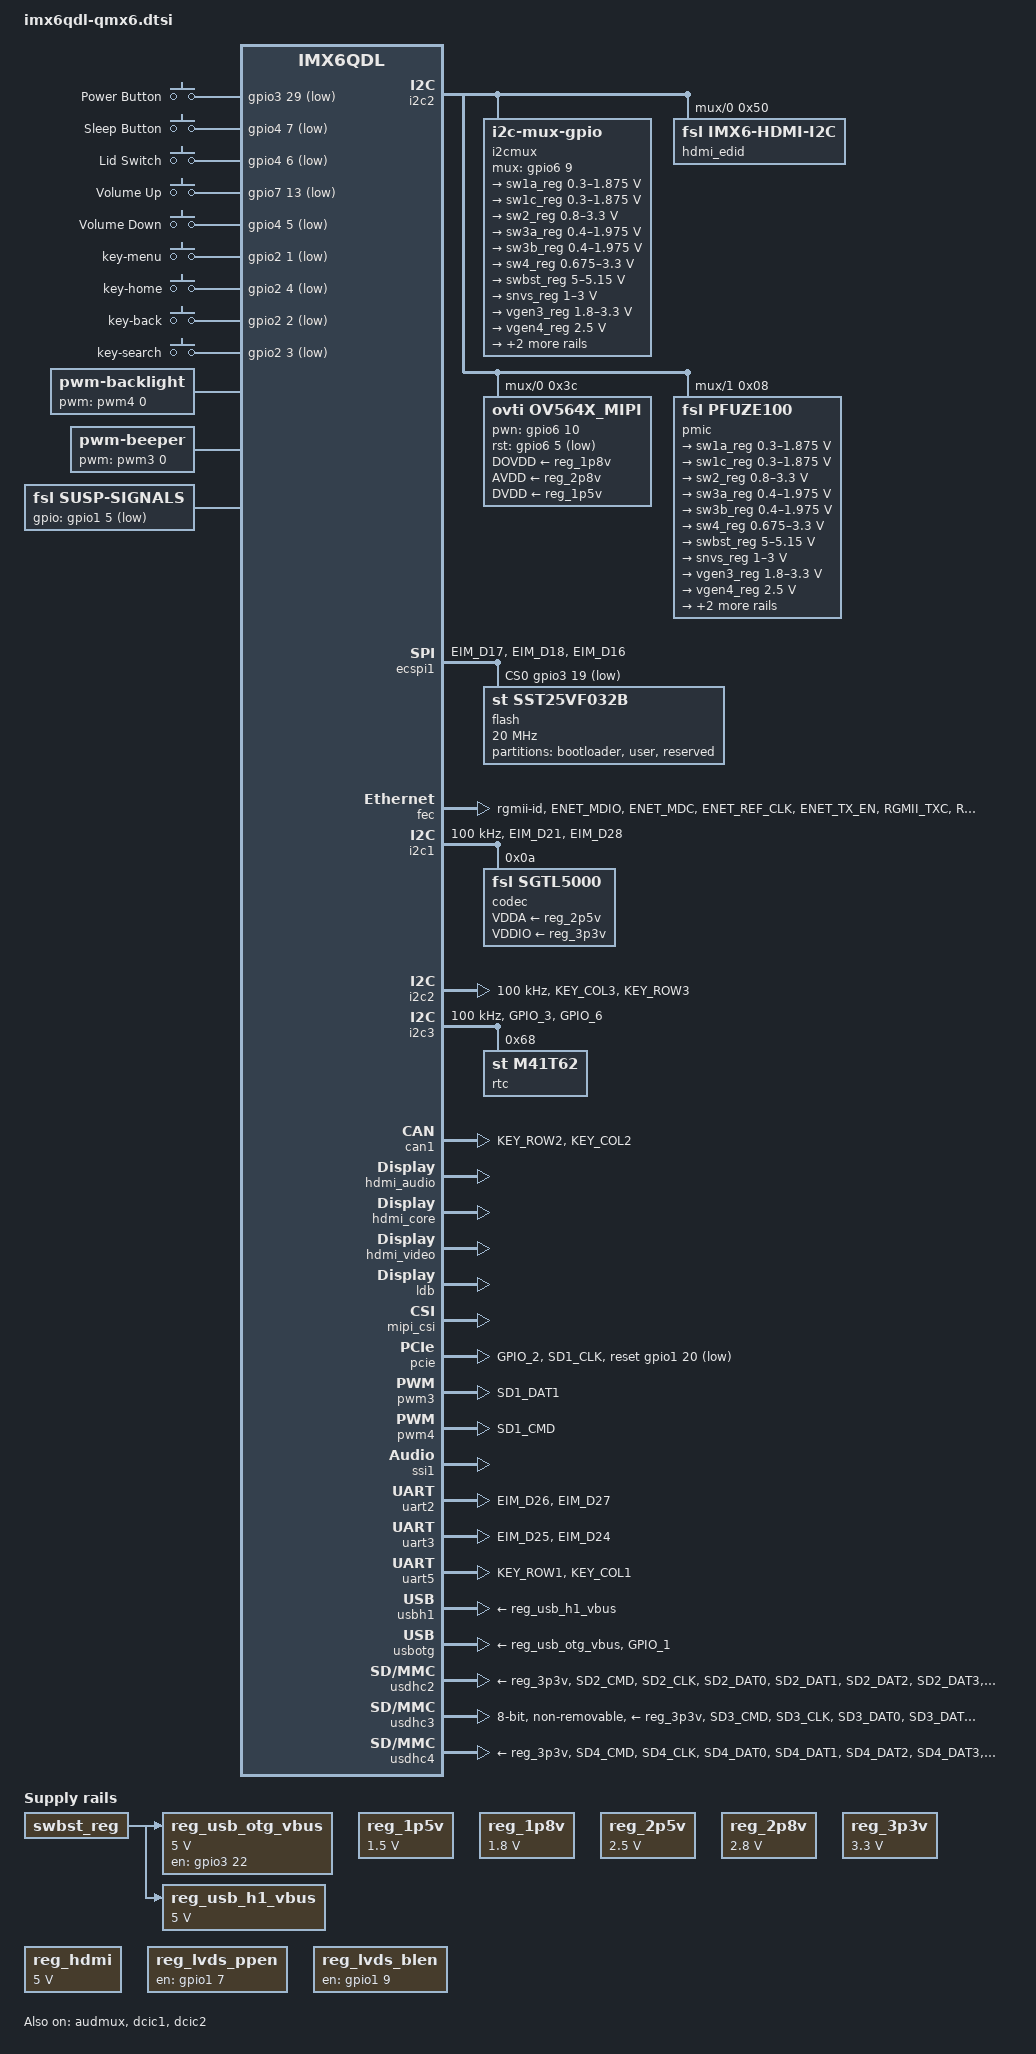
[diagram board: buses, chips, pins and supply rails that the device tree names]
/*
 * Copyright 2016 congatec AG
 * Copyright 2012 Freescale Semiconductor, Inc.
 * Copyright 2011 Linaro Ltd.
 *
 * The code contained herein is licensed under the GNU General Public
 * License. You may obtain a copy of the GNU General Public License
 * Version 2 or later at the following locations:
 *
 * http://www.opensource.org/licenses/gpl-license.html
 * http://www.gnu.org/copyleft/gpl.html
 */

#include <dt-bindings/gpio/gpio.h>
#include <dt-bindings/input/gpio-keys.h>
#include <dt-bindings/input/input.h>

/ {
	aliases {
		mxcfb0 = &mxcfb1;
		mxcfb1 = &mxcfb2;
		mxcfb2 = &mxcfb3;
		mxcfb3 = &mxcfb4;

		mmc0 = &usdhc2;
		mmc1 = &usdhc3;
		mmc2 = &usdhc4;
	};


	regulators {
		compatible = "simple-bus";
		#address-cells = <1>;
		#size-cells = <0>;

		reg_1p5v: 1p5v {
			compatible = "regulator-fixed";
			regulator-name = "1P5V";
			regulator-min-microvolt = <1500000>;
			regulator-max-microvolt = <1500000>;
			regulator-always-on;
		};

		reg_1p8v: 1p8v {
			compatible = "regulator-fixed";
			regulator-name = "1P8V";
			regulator-min-microvolt = <1800000>;
			regulator-max-microvolt = <1800000>;
			regulator-always-on;
		};

		reg_2p5v: 2p5v {
			compatible = "regulator-fixed";
			regulator-name = "2P5V";
			regulator-min-microvolt = <2500000>;
			regulator-max-microvolt = <2500000>;
			regulator-always-on;
		};

		reg_2p8v: 2p8v {
			compatible = "regulator-fixed";
			regulator-name = "2P8V";
			regulator-min-microvolt = <2800000>;
			regulator-max-microvolt = <2800000>;
			regulator-always-on;
		};

		reg_3p3v: 3p3v {
			compatible = "regulator-fixed";
			regulator-name = "3P3V";
			regulator-min-microvolt = <3300000>;
			regulator-max-microvolt = <3300000>;
			regulator-always-on;
		};

		reg_usb_otg_vbus: regulator-usb-otg-vbus {
			compatible = "regulator-fixed";
			regulator-name = "usb_otg_vbus";
			regulator-min-microvolt = <5000000>;
			regulator-max-microvolt = <5000000>;
			gpio = <&gpio3 22 GPIO_ACTIVE_HIGH>;
			enable-active-high;
			regulator-always-on;
			vin-supply = <&swbst_reg>;
		};

		reg_usb_h1_vbus: regulator-usb-h1-vbus {
			compatible = "regulator-fixed";
			regulator-name = "usb_h1_vbus";
			regulator-min-microvolt = <5000000>;
			regulator-max-microvolt = <5000000>;
			regulator-always-on;
			vin-supply = <&swbst_reg>;
		};

		reg_hdmi: regulator-hdmi {
			compatible = "regulator-fixed";
			regulator-name = "hdmi-5v-supply";
			regulator-min-microvolt = <5000000>;
			regulator-max-microvolt = <5000000>;
			enable-active-high;
			hdmi-5v-supply = <&swbst_reg>;
		};

		/* LVDS backlight power enable as regulator */
		reg_lvds_ppen: lvds_ppen_pwr_on {
			compatible = "regulator-fixed";
			regulator-name = "lvds_ppen_pwr_on";
			gpio = <&gpio1 7 GPIO_ACTIVE_HIGH>; /* Q7-111: LVDS_PPEN */
			enable-active-high;
			regulator-always-on;
		};

		/* LVDS backlight enable as regulator */
		reg_lvds_blen: lvds_blen_pwr_on {
			compatible = "regulator-fixed";
			regulator-name = "lvds_blen_pwr_on";
			gpio = <&gpio1 9 GPIO_ACTIVE_HIGH>; /* Q7-112: LVDS_BLEN */
			enable-active-high;
			regulator-always-on;
		};
	};

	i2cmux {
			compatible = "i2c-mux-gpio";
			#address-cells = <1>;
			#size-cells = <0>;
			mux-gpios = <&gpio6 9 GPIO_ACTIVE_HIGH>;
			i2c-parent = <&i2c2>;

			i2c@0 {
				reg = <0>;
				#address-cells = <1>;
				#size-cells = <0>;

				hdmi_edid: edid@50 {
					compatible = "fsl,imx6-hdmi-i2c";
					reg = <0x50>;
				};

/* mma8451 is not populated on QMX6 */
#if 0
				mma8451@1c {
					compatible = "fsl,mma8451";
					reg = <0x1c>;
					position = <1>;
					vdd-supply = <&reg_3p3v>;
					vddio-supply = <&reg_3p3v>;
					pinctrl-names = "default";
					pinctrl-0 = <&pinctrl_i2c2_mma8451_int>;
					interrupt-parent = <&gpio6>;
					interrupts = <14 IRQ_TYPE_LEVEL_LOW>, <16 IRQ_TYPE_LEVEL_LOW>;
				};
#endif

				ov564x_mipi: ov564x_mipi@3c {
					compatible = "ovti,ov564x_mipi";
					reg = <0x3c>;
					clocks = <&clks 201>;
					clock-names = "csi_mclk";
					DOVDD-supply = <&reg_1p8v>;
					AVDD-supply = <&reg_2p8v>;
					DVDD-supply = <&reg_1p5v>;
					pwn-gpios = <&gpio6 10 GPIO_ACTIVE_HIGH>;
					rst-gpios = <&gpio6 5 GPIO_ACTIVE_LOW>;
					csi_id = <1>;
					mclk = <24000000>;
					mclk_source = <0>;
				};
			};

			i2c@1 {
				reg = <1>;
				#address-cells = <1>;
				#size-cells = <0>;

				pmic: pfuze100@8 {
					compatible = "fsl,pfuze100";
					reg = <0x08>;

					regulators {
						sw1a_reg: sw1ab {
							regulator-min-microvolt = <300000>;
							regulator-max-microvolt = <1875000>;
							regulator-boot-on;
							regulator-always-on;
							regulator-ramp-delay = <6250>;
						};

						sw1c_reg: sw1c {
							regulator-min-microvolt = <300000>;
							regulator-max-microvolt = <1875000>;
							regulator-boot-on;
							regulator-always-on;
							regulator-ramp-delay = <6250>;
						};

						sw2_reg: sw2 {
							regulator-min-microvolt = <800000>;
							regulator-max-microvolt = <3300000>;
							regulator-boot-on;
							regulator-always-on;
						};

						sw3a_reg: sw3a {
							regulator-min-microvolt = <400000>;
							regulator-max-microvolt = <1975000>;
							regulator-boot-on;
							regulator-always-on;
						};

						sw3b_reg: sw3b {
							regulator-min-microvolt = <400000>;
							regulator-max-microvolt = <1975000>;
							regulator-boot-on;
							regulator-always-on;
						};

						sw4_reg: sw4 {
							regulator-min-microvolt = <675000>;
							regulator-max-microvolt = <3300000>;
							regulator-boot-on;
							regulator-always-on;
						};

						swbst_reg: swbst {
							regulator-min-microvolt = <5000000>;
							regulator-max-microvolt = <5150000>;
						};

						snvs_reg: vsnvs {
							regulator-min-microvolt = <1000000>;
							regulator-max-microvolt = <3000000>;
							regulator-boot-on;
							regulator-always-on;
						};

						vref_reg: vrefddr {
							regulator-boot-on;
							regulator-always-on;
						};

						/* keep VGEN3, VGEN4 and VGEN5 enabled in order to maintain backward compatibility with hw-rev. A.0 */
						vgen3_reg: vgen3 {
							regulator-min-microvolt = <1800000>;
							regulator-max-microvolt = <3300000>;
							regulator-always-on;
						};

						vgen4_reg: vgen4 {
							regulator-min-microvolt = <2500000>;
							regulator-max-microvolt = <2500000>;
							regulator-always-on;
						};


						vgen5_reg: vgen5 {
							regulator-min-microvolt = <1800000>;
							regulator-max-microvolt = <3300000>;
							regulator-always-on;
						};

						/* supply voltage for eMMC */
						vgen6_reg: vgen6 {
							regulator-min-microvolt = <1800000>;
							regulator-max-microvolt = <1800000>;
							regulator-boot-on;
							regulator-always-on;
						};
					};
				};
			};
	};

	gpio-keys {
		compatible = "gpio-keys";
		pinctrl-names = "default";
		pinctrl-0 = <&pinctrl_gpio_keys>;

		power {
			label = "Power Button";
			gpios = <&gpio3 29 GPIO_ACTIVE_LOW>;
			wakeup-source;
			linux,code = <KEY_POWER>;
		};

		sleep {
			label = "Sleep Button";
			gpios = <&gpio4 7 GPIO_ACTIVE_LOW>;
			wakeup-source;
			linux,code = <KEY_SLEEP>;
		};

		lid {
			label = "Lid Switch";
			gpios = <&gpio4 6 GPIO_ACTIVE_LOW>;
			wakeup-source;
			linux,code = <SW_LID>;
			linux,input-type = <EV_SW>;
		};

		volume-up {
			label = "Volume Up";
			gpios = <&gpio7 13 GPIO_ACTIVE_LOW>;
			linux,code = <KEY_VOLUMEUP>;
		};

		volume-down {
			label = "Volume Down";
			gpios = <&gpio4 5 GPIO_ACTIVE_LOW>;
			linux,code = <KEY_VOLUMEDOWN>;
		};

		key-menu {
			label = "key-menu";
			gpios = <&gpio2 1 GPIO_ACTIVE_LOW>;
			linux,code = <KEY_MENU>;
		};

		key-home {
			label = "key-home";
			gpios = <&gpio2 4 GPIO_ACTIVE_LOW>;
			linux,code = <KEY_HOME>;
		};

		key-back {
			label = "key-back";
			gpios = <&gpio2 2 GPIO_ACTIVE_LOW>;
			linux,code = <KEY_BACK>;
		};

		key-search {
			label = "key-search";
			gpios = <&gpio2 3 GPIO_ACTIVE_LOW>;
			linux,code = <KEY_SEARCH>;
		};
	};

	sound {
		compatible = "fsl,imx6q-qmx6-sgtl5000",
			     "fsl,imx-audio-sgtl5000";
		model = "imx6q-qmx6-sgtl5000";
		ssi-controller = <&ssi1>;
		audio-codec = <&codec>;
		asrc-controller = <&asrc>;
		audio-routing =
			"MIC_IN", "Mic Jack",
			"Mic Jack", "Mic Bias",
			"Headphone Jack", "HP_OUT";
		mux-int-port = <1>;
		mux-ext-port = <6>;
	};

	sound-hdmi {
		compatible = "fsl,imx6q-audio-hdmi",
			     "fsl,imx-audio-hdmi";
		model = "imx-audio-hdmi";
		hdmi-controller = <&hdmi_audio>;
	};

	mxcfb1: fb@0 {
		compatible = "fsl,mxc_sdc_fb";
		disp_dev = "ldb";
		interface_pix_fmt = "RGB666";
		default_bpp = <16>;
		int_clk = <0>;
		late_init = <0>;
		status = "disabled";
	};

	mxcfb2: fb@1 {
		compatible = "fsl,mxc_sdc_fb";
		disp_dev = "hdmi";
		interface_pix_fmt = "RGB24";
		mode_str ="1920x1080M@60";
		default_bpp = <24>;
		int_clk = <0>;
		late_init = <0>;
		status = "disabled";
	};

	mxcfb3: fb@2 {
		compatible = "fsl,mxc_sdc_fb";
		disp_dev = "ldb";
		interface_pix_fmt = "RGB666";
		default_bpp = <16>;
		int_clk = <0>;
		late_init = <0>;
		status = "disabled";
	};

	mxcfb4: fb@3 {
		compatible = "fsl,mxc_sdc_fb";
		disp_dev = "ldb";
		interface_pix_fmt = "RGB666";
		default_bpp = <16>;
		int_clk = <0>;
		late_init = <0>;
		status = "disabled";
	};

	backlight {
		compatible = "pwm-backlight";
		pwms = <&pwm4 0 5000000>;
		brightness-levels = <0 4 8 16 32 64 128 255>;
		default-brightness-level = <7>;
		status = "okay";
	};

	beeper {
		compatible = "pwm-beeper";
		pwms = <&pwm3 0 5000000>;
	};

	v4l2_cap_1 {
		compatible = "fsl,imx6q-v4l2-capture";
		ipu_id = <0>;
		csi_id = <1>;
		mclk_source = <0>;
		status = "okay";
	};

	v4l2_out {
		compatible = "fsl,mxc_v4l2_output";
		status = "okay";
	};

	susp-signals {
		compatible = "fsl,susp-signals";
		gpios = <&gpio1 5 GPIO_ACTIVE_LOW>;
	};
};

&audmux {
	pinctrl-names = "default";
	pinctrl-0 = <&pinctrl_audmux>;
	status = "okay";
};

&clks {
	assigned-clocks = <&clks IMX6QDL_CLK_LDB_DI0_SEL>,
			  <&clks IMX6QDL_CLK_LDB_DI1_SEL>;
	assigned-clock-parents = <&clks IMX6QDL_CLK_PLL2_PFD0_352M>,
				 <&clks IMX6QDL_CLK_PLL2_PFD0_352M>;
};


&ecspi1 {
	fsl,spi-num-chipselects = <1>;
	cs-gpios = <&gpio3 19 GPIO_ACTIVE_LOW>;
	pinctrl-names = "default";
	pinctrl-0 = <&pinctrl_ecspi1>;
	dmas = <&sdma 3 7 1>, <&sdma 4 7 2>;
	dma-names = "rx", "tx";
	status = "okay";

	flash: m25p80@0 {
		#address-cells = <1>;
		#size-cells = <1>;
		compatible = "st,sst25vf032b";
		spi-max-frequency = <20000000>;
		reg = <0>;

		partition@0 {
			label = "bootloader";
			reg = <0x0000000 0x100000>;
		};

		partition@100000 {
			label = "user";
			reg = <0x0100000 0x2fc000>;
		};

		partition@3fc000 {
			label = "reserved";
			reg = <0x03fc000 0x4000>;
			read-only;
		};
	};
};

&fec {
	pinctrl-names = "default";
	pinctrl-0 = <&pinctrl_enet>;
	phy-mode = "rgmii-id";
	phy-reset-gpios = <&gpio3 23 GPIO_ACTIVE_LOW>;
	fsl,magic-packet;
	status = "okay";
};

&i2c1 {
	clock-frequency = <100000>;
	pinctrl-names = "default";
	pinctrl-0 = <&pinctrl_i2c1>;
	status = "okay";

	codec: sgtl5000@a {
		compatible = "fsl,sgtl5000";
		reg = <0x0a>;
		clocks = <&clks 201>;
		VDDA-supply = <&reg_2p5v>;
		VDDIO-supply = <&reg_3p3v>;
	};
};

&i2c2 {
	clock-frequency = <100000>;
	pinctrl-names = "default";
	pinctrl-0 = <&pinctrl_i2c2>;
	status = "okay";

};

&i2c3 {
    clock-frequency = <100000>;
    pinctrl-names = "default";
    pinctrl-0 = <&pinctrl_i2c3>;
    status = "okay";

	rtc: m41t62@68 {
		compatible = "st,m41t62";
        reg = <0x68>;
    };
};

&iomuxc {
	pinctrl-names = "default";
	pinctrl-0 = <&pinctrl_hog>;

	imx6qdl-qmx6 {
		pinctrl_hog: hoggrp {
			fsl,pins = <
				MX6QDL_PAD_NANDF_WP_B__GPIO6_IO09	0x80000000	/* I2C multiplexer */
				MX6QDL_PAD_GPIO_4__GPIO1_IO04		0x80000000	/* SD2_CD */
				MX6QDL_PAD_NANDF_D6__GPIO2_IO06		0x80000000	/* SD4_CD# */
				MX6QDL_PAD_NANDF_D7__GPIO2_IO07		0x80000000	/* SD4_WP */
				MX6QDL_PAD_EIM_D23__GPIO3_IO23		0x80000000	/* RGMII Phy Reset */
				MX6QDL_PAD_CSI0_MCLK__CCM_CLKO1		0x80000000	/* Camera MCLK */
				MX6QDL_PAD_DISP0_DAT8__WDOG1_B		0x80000000	/* Watchdog output signal */

				MX6QDL_PAD_EIM_A25__GPIO5_IO02		0x80000000	/* Q7, GPIO 0 */
				MX6QDL_PAD_EIM_D22__GPIO3_IO22      0x80000000	/* Q7, GPIO 1 on Rev. B.x, USB-otg-power on Rev. Cx */
				MX6QDL_PAD_GPIO_8__GPIO1_IO08		0x80000000	/* Q7, GPIO 1 on Rev. C.x, CSI0_RST on Rev B. */
				MX6QDL_PAD_DISP0_DAT5__GPIO4_IO26	0x80000000	/* Q7, GPIO 2 */
				MX6QDL_PAD_DISP0_DAT6__GPIO4_IO27	0x80000000	/* Q7, GPIO 3 */
				MX6QDL_PAD_GPIO_16__GPIO7_IO11		0x80000000	/* Q7, GPIO 4 */
				MX6QDL_PAD_KEY_ROW4__GPIO4_IO15		0x80000000	/* Q7, GPI */
				MX6QDL_PAD_KEY_COL4__GPIO4_IO14		0x80000000	/* Q7, GPO 0 */
				MX6QDL_PAD_GPIO_0__GPIO1_IO00		0x80000000	/* Q7, GPO 1 */

				/* LVDS backlight as GPIO */
				/* MX6QDL_PAD_GPIO_7__GPIO1_IO07	0x80000000	*/ /* Q7 111: LVDS_PPEN */
				/* MX6QDL_PAD_GPIO_9__GPIO1_IO09	0x80000000	*/ /* Q7 112: LVDS_BLEN */
			>;
		};

		pinctrl_audmux: audmuxgrp {
			fsl,pins = <
				MX6QDL_PAD_DI0_PIN4__AUD6_RXD		0x130b0
				MX6QDL_PAD_DI0_PIN15__AUD6_TXC		0x130b0
				MX6QDL_PAD_DI0_PIN2__AUD6_TXD		0x110b0
				MX6QDL_PAD_DI0_PIN3__AUD6_TXFS		0x130b0
			>;
		};

		pinctrl_ecspi1: ecspi1grp {
			fsl,pins = <
				MX6QDL_PAD_EIM_D17__ECSPI1_MISO		0x100b1
				MX6QDL_PAD_EIM_D18__ECSPI1_MOSI		0x100b1
				MX6QDL_PAD_EIM_D16__ECSPI1_SCLK		0x100b1
			>;
		};

		pinctrl_enet: enetgrp {
			fsl,pins = <
				/* Control */
				MX6QDL_PAD_ENET_MDIO__ENET_MDIO       0x1b0b0
				MX6QDL_PAD_ENET_MDC__ENET_MDC         0x1b0b0

				MX6QDL_PAD_ENET_REF_CLK__ENET_TX_CLK  0x1b0b0
				MX6QDL_PAD_ENET_TX_EN__ENET_TX_EN     0x1b0b0

				/* RGMI Interface */
				MX6QDL_PAD_RGMII_TXC__RGMII_TXC       0x1b030
				MX6QDL_PAD_RGMII_TD0__RGMII_TD0       0x1b030
				MX6QDL_PAD_RGMII_TD1__RGMII_TD1       0x1b030
				MX6QDL_PAD_RGMII_TD2__RGMII_TD2       0x1b030
				MX6QDL_PAD_RGMII_TD3__RGMII_TD3       0x1b030
				MX6QDL_PAD_RGMII_TX_CTL__RGMII_TX_CTL 0x1b030

				MX6QDL_PAD_RGMII_RXC__RGMII_RXC       0x1b030
				MX6QDL_PAD_RGMII_RD0__RGMII_RD0       0x1b030
				MX6QDL_PAD_RGMII_RD1__RGMII_RD1       0x1b030
				MX6QDL_PAD_RGMII_RD2__RGMII_RD2       0x1b030
				MX6QDL_PAD_RGMII_RD3__RGMII_RD3       0x1b030
				MX6QDL_PAD_RGMII_RX_CTL__RGMII_RX_CTL 0x1b030
			>;
		};

		/* ethernet uses polling mode (GPIO6 is i2c pin) */
		/*
		pinctrl_enet_irq: enetirqgrp {
			fsl,pins = <
				 MX6QDL_PAD_GPIO_6__ENET_IRQ		0x000b1
			>;
		};
		*/

		pinctrl_gpio_keys: gpio_keysgrp {
			fsl,pins = <
				/* Q7 Buttons */
				MX6QDL_PAD_EIM_D29__GPIO3_IO29  0x80000000  /* PWR_BTN Q7-20 */
				MX6QDL_PAD_KEY_ROW0__GPIO4_IO07 0x80000000  /* SLEEP_BTN Q7-21 */
				MX6QDL_PAD_KEY_COL0__GPIO4_IO06 0x80000000  /* LID_BTN Q7-22 */

				/* Android Buttons (X5) */
				MX6QDL_PAD_GPIO_18__GPIO7_IO13  0x80000000  /* VOL_UP Android-Buttons (X5-2) */
				MX6QDL_PAD_NANDF_D4__GPIO2_IO04 0x80000000  /* HOME Android-Buttons (X5-3) */
				MX6QDL_PAD_NANDF_D3__GPIO2_IO03 0x80000000  /* SEARCH Android-Buttons (X5-4) */
				MX6QDL_PAD_NANDF_D2__GPIO2_IO02 0x80000000  /* MENU Android-Buttons (X5-5) */
				MX6QDL_PAD_NANDF_D1__GPIO2_IO01 0x80000000  /* MENU Android-Buttons (X5-6) */
				MX6QDL_PAD_GPIO_19__GPIO4_IO05  0x80000000  /* VOL_DN Android-Buttons (X5-7) */
			>;
		};

		pinctrl_flexcan1: flexcan1grp {
			fsl,pins = <
				MX6QDL_PAD_KEY_ROW2__FLEXCAN1_RX	0x80000000
				MX6QDL_PAD_KEY_COL2__FLEXCAN1_TX	0x80000000
			>;
		};

		pinctrl_flexcan2: flexcan2grp {
			fsl,pins = <
				MX6QDL_PAD_KEY_COL4__FLEXCAN2_TX	0x80000000
				MX6QDL_PAD_KEY_ROW4__FLEXCAN2_RX	0x80000000
			>;
		};

		pinctrl_hdmi_cec: hdmicecgrp {
			fsl,pins = <
				MX6QDL_PAD_EIM_A25__HDMI_TX_CEC_LINE 0x1f8b0
			>;
		};

		pinctrl_i2c1: i2c1grp {
			fsl,pins = <
				MX6QDL_PAD_EIM_D21__I2C1_SCL		0x4001b8b1
				MX6QDL_PAD_EIM_D28__I2C1_SDA		0x4001b8b1
			>;
		};

		pinctrl_i2c2: i2c2grp {
			fsl,pins = <
				MX6QDL_PAD_KEY_COL3__I2C2_SCL		0x4001b8b1
				MX6QDL_PAD_KEY_ROW3__I2C2_SDA		0x4001b8b1
			 >;
		};

/* mma8451 is not populated on QMX6 */
#if 0
		pinctrl_i2c2_mma8451_int: i2c2mma8451intgrp {
			fsl,pins = <
				MX6QDL_PAD_NANDF_CS1__GPIO6_IO14 	0xb0b1 /* ACCL_INT1_IN */
				MX6QDL_PAD_NANDF_CS3__GPIO6_IO16 	0xb0b1 /* ACCL_INT2_IN */
			>;
		};
#endif

		pinctrl_i2c3: i2c3grp {
			fsl,pins = <
				MX6QDL_PAD_GPIO_3__I2C3_SCL		0x4001b8b1
				MX6QDL_PAD_GPIO_6__I2C3_SDA		0x4001b8b1
			>;
		};

		pinctrl_pwm3: pwm3grp {
			fsl,pins = <
				MX6QDL_PAD_SD1_DAT1__PWM3_OUT 0x1b0b1
			>;
		};

		pinctrl_pwm4: pwm4grp {
			fsl,pins = <
				MX6QDL_PAD_SD1_CMD__PWM4_OUT 0x1b0b1 /* Q7-123: BL_CTRL */
			>;
		};

		pinctrl_uart2: uart2grp {
			fsl,pins = <
                MX6QDL_PAD_EIM_D26__UART2_TX_DATA 0x1b0b1
                MX6QDL_PAD_EIM_D27__UART2_RX_DATA 0x1b0b1
			>;
		};

		pinctrl_uart3_1: uart3grp-1 {
			fsl,pins = <
                MX6QDL_PAD_EIM_D25__UART3_RX_DATA 0x1b0b1
                MX6QDL_PAD_EIM_D24__UART3_TX_DATA 0x1b0b1
			>;
		};

		pinctrl_uart3_2: uart3grp-2 {
			fsl,pins = <
                MX6QDL_PAD_EIM_D25__UART3_RX_DATA 0x1b0b1
                MX6QDL_PAD_EIM_D24__UART3_TX_DATA 0x1b0b1
                MX6QDL_PAD_EIM_D30__UART3_RTS_B   0x1b0b1
                MX6QDL_PAD_EIM_D31__UART3_CTS_B   0x1b0b1
			>;
		};

		pinctrl_uart5: uart5grp {
			fsl,pins = <
                MX6QDL_PAD_KEY_ROW1__UART5_RX_DATA 0x1b0b1
                MX6QDL_PAD_KEY_COL1__UART5_TX_DATA 0x1b0b1
			>;
		};

	pinctrl_usbotg: usbotggrp {
			fsl,pins = <
				MX6QDL_PAD_GPIO_1__USB_OTG_ID	0x17059
			>;
		};

        pinctrl_usdhc2: usdhc2grp {
            fsl,pins = <
                MX6QDL_PAD_SD2_CMD__SD2_CMD    0x17059
                MX6QDL_PAD_SD2_CLK__SD2_CLK    0x10059
                MX6QDL_PAD_SD2_DAT0__SD2_DATA0 0x17059
                MX6QDL_PAD_SD2_DAT1__SD2_DATA1 0x17059
                MX6QDL_PAD_SD2_DAT2__SD2_DATA2 0x17059
                MX6QDL_PAD_SD2_DAT3__SD2_DATA3 0x17059
             >;
         };

         pinctrl_usdhc3: usdhc3grp {
             fsl,pins = <
				MX6QDL_PAD_SD3_CMD__SD3_CMD    0x17059
				MX6QDL_PAD_SD3_CLK__SD3_CLK    0x10059
				MX6QDL_PAD_SD3_DAT0__SD3_DATA0 0x17059
				MX6QDL_PAD_SD3_DAT1__SD3_DATA1 0x17059
				MX6QDL_PAD_SD3_DAT2__SD3_DATA2 0x17059
				MX6QDL_PAD_SD3_DAT3__SD3_DATA3 0x17059
				MX6QDL_PAD_SD3_DAT4__SD3_DATA4 0x17059
				MX6QDL_PAD_SD3_DAT5__SD3_DATA5 0x17059
				MX6QDL_PAD_SD3_DAT6__SD3_DATA6 0x17059
				MX6QDL_PAD_SD3_DAT7__SD3_DATA7 0x17059
             >;
         };

		pinctrl_usdhc4: usdhc4grp {
			fsl,pins = <
				MX6QDL_PAD_SD4_CMD__SD4_CMD    0x17059
				MX6QDL_PAD_SD4_CLK__SD4_CLK    0x10059
				MX6QDL_PAD_SD4_DAT0__SD4_DATA0 0x17059
				MX6QDL_PAD_SD4_DAT1__SD4_DATA1 0x17059
				MX6QDL_PAD_SD4_DAT2__SD4_DATA2 0x17059
				MX6QDL_PAD_SD4_DAT3__SD4_DATA3 0x17059
				MX6QDL_PAD_SD4_DAT4__SD4_DATA4 0x17059
				MX6QDL_PAD_SD4_DAT5__SD4_DATA5 0x17059
				MX6QDL_PAD_SD4_DAT6__SD4_DATA6 0x17059
				MX6QDL_PAD_SD4_DAT7__SD4_DATA7 0x17059
			>;
		};

		pinctrl_pcie: pciegrp {
			fsl,pins = <
				MX6QDL_PAD_GPIO_2__GPIO1_IO02		0x80000000	/* PCIE_WAKE_B (Q7-156)*/
				MX6QDL_PAD_SD1_CLK__GPIO1_IO20		0x1b0b0 	/* PCIE-Reset (Q7-158)*/
			>;
		};
    };
};

&can1 {
	pinctrl-names = "default";
	pinctrl-0 = <&pinctrl_flexcan1>;
	status = "okay";
};

&can2 {
	pinctrl-names = "default";
	pinctrl-0 = <&pinctrl_flexcan2>;
	status = "disabled"; /* set to okay in order to get alternativ pin setup (2nd CAN interface) for Q7-Edge-Connector, pins 190/192 */
};

&gpc {
	/* use ldo-bypass, u-boot will check it and configure */
	fsl,ldo-bypass = <1>;
	fsl,wdog-reset = <1>;
};

&hdmi_audio {
	status = "okay";
};

&hdmi_cec {
	pinctrl-names = "default";
	pinctrl-0 = <&pinctrl_hdmi_cec>;
	status = "disabled"; /* set to disabled because pin already used as Q7 GPIO */
};

&hdmi_core {
	ipu_id = <0>;
	disp_id = <0>;
	status = "okay";
};

&hdmi_video {
	fsl,phy_reg_vlev = <0x01ef>;
	fsl,phy_reg_cksymtx = <0x800b>;
	HDMI-supply = <&reg_hdmi>;
	status = "okay";
};

&ldb {
	status = "okay";

	lvds-channel@0 {
		fsl,data-mapping = "spwg";
		fsl,data-width = <18>;
		primary;
		status = "okay";

		display-timings {
			native-mode = <&timing0>;
			timing0: hsd100pxn1 {
				clock-frequency = <65000000>;
				hactive = <1024>;
				vactive = <768>;
				hback-porch = <220>;
				hfront-porch = <40>;
				vback-porch = <21>;
				vfront-porch = <7>;
				hsync-len = <60>;
				vsync-len = <10>;
			};
		};
	};

	lvds-channel@1 {
		fsl,data-mapping = "spwg";
		fsl,data-width = <18>;
		status = "okay";

		display-timings {
			native-mode = <&timing1>;
			timing1: hsd100pxn1 {
				clock-frequency = <65000000>;
				hactive = <1024>;
				vactive = <768>;
				hback-porch = <220>;
				hfront-porch = <40>;
				vback-porch = <21>;
				vfront-porch = <7>;
				hsync-len = <60>;
				vsync-len = <10>;
			};
		};
	};
};

&mipi_csi {
	status = "okay";
	ipu_id = <0>;
	csi_id = <1>;
	v_channel = <0>;
	lanes = <2>;
};

&dcic1 {
	dcic_id = <0>;
	dcic_mux = "dcic-hdmi";
	status = "okay";
};

&dcic2 {
	dcic_id = <1>;
	dcic_mux = "dcic-lvds1";
	status = "okay";
};

&pcie {
	reset-gpio = <&gpio1 20 GPIO_ACTIVE_LOW>; /* MX6QDL_PAD_SD1_CLK__GPIO1_IO20 */
	pinctrl-names = "default";
	pinctrl-0 = <&pinctrl_pcie>;
	status = "okay";

	/* Adjust PCIe-Phy Tx settings (Kernel 4.14.98: CGT000005) */
	fsl,tx-deemph-gen1 = <15>;
	fsl,tx-deemph-gen2-3p5db = <15>;
	fsl,tx-deemph-gen2-6db = <31>;
	fsl,tx-swing-full = <127>;
	fsl,tx-swing-low = <63>;
	fsl,max-link-speed = <1>;
};


&pwm3 {
	pinctrl-names = "default";
	pinctrl-0 = <&pinctrl_pwm3>;
	status = "okay";
};

&pwm4 {
	pinctrl-names = "default";
	pinctrl-0 = <&pinctrl_pwm4>;
	status = "okay";
};

&reg_arm {
       vin-supply = <&sw1a_reg>;
};

&reg_pu {
       vin-supply = <&sw1c_reg>;
};

&reg_soc {
       vin-supply = <&sw1c_reg>;
};

&reg_vdd1p1 {
	vin-supply = <&vgen5_reg>;
};

&reg_vdd2p5 {
	vin-supply = <&vgen5_reg>;
};

&reg_vdd3p0 {
	vin-supply = <&vgen5_reg>;
};

&snvs_poweroff {
	status = "okay";
};

&ssi1 {
	fsl,mode = "i2s-slave";
	status = "okay";
};

&uart2 {
	pinctrl-names = "default";
	pinctrl-0 = <&pinctrl_uart2>;
	status = "okay";
};

&uart3 {
	pinctrl-names = "default";
	pinctrl-0 = <&pinctrl_uart3_1>;
	status = "okay";
};

&uart5 {
	pinctrl-names = "default";
	pinctrl-0 = <&pinctrl_uart5>;
	status = "okay";
};

&usbh1 {
	vbus-supply = <&reg_usb_h1_vbus>;
	status = "okay";
};

&usbotg {
	vbus-supply = <&reg_usb_otg_vbus>;
	pinctrl-names = "default";
	pinctrl-0 = <&pinctrl_usbotg>;
	disable-over-current;
	status = "okay";
};

&usdhc2 {
	pinctrl-names = "default";
	pinctrl-0 = <&pinctrl_usdhc2>;
	cd-gpios = <&gpio1 4 GPIO_ACTIVE_LOW>;
	no-1-8-v;
	keep-power-in-suspend;
	enable-sdio-wakeup;
	vmmc-supply = <&reg_3p3v>;
	status = "okay";
};

&usdhc3 {
	pinctrl-names = "default";
	pinctrl-0 = <&pinctrl_usdhc3>;
	non-removable;
	bus-width = <8>;
	no-1-8-v;
	keep-power-in-suspend;
	enable-sdio-wakeup;
	vmmc-supply = <&reg_3p3v>;
	status = "okay";
};

&usdhc4 {
	pinctrl-names = "default";
	pinctrl-0 = <&pinctrl_usdhc4>;
	cd-gpios = <&gpio2 6 GPIO_ACTIVE_LOW>;
	wp-gpios = <&gpio2 7 GPIO_ACTIVE_HIGH>;
	no-1-8-v;
	keep-power-in-suspend;
	enable-sdio-wakeup;
	vmmc-supply = <&reg_3p3v>;
	status = "okay";
};

